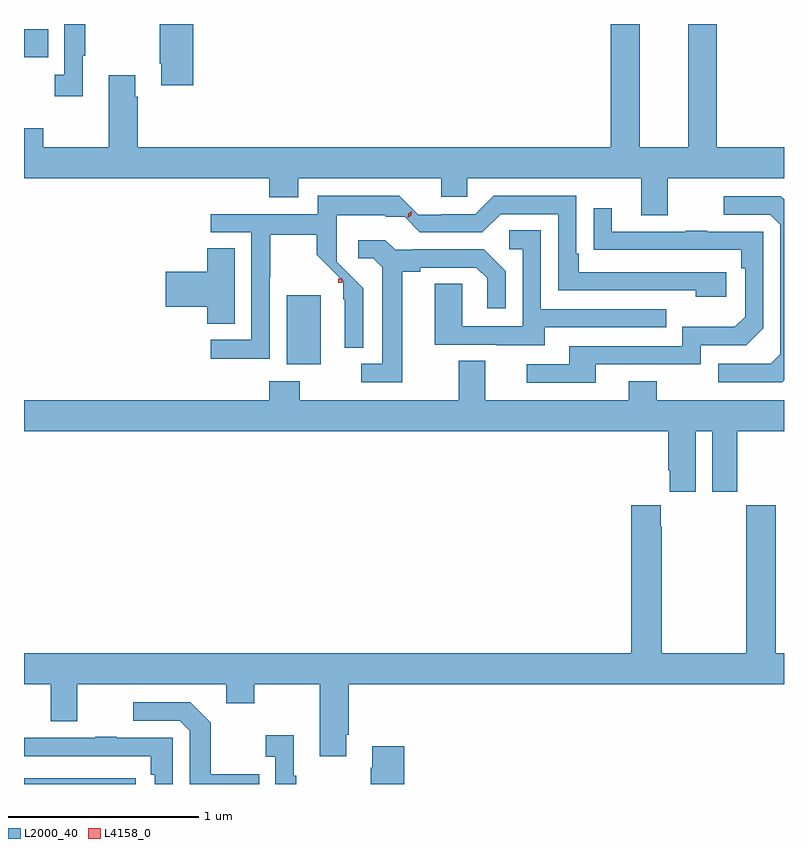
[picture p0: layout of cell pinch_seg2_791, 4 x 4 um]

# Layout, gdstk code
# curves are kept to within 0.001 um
import gdstk
lib = gdstk.Library(unit=1e-6, precision=1e-09)
def R(c, l, rs):  # rectangles x0, y0, x1, y1
    for r in rs: c.add(gdstk.rectangle(r[:2], r[2:], *l))
def P(c, l, *ps):  # polygons
    for p in ps: c.add(gdstk.Polygon(p, *l))
L2000_40 = (2000, 40)
L4158_0 = (4158, 0)

pinch_seg2_791 = lib.new_cell('pinch_seg2_791')
R(pinch_seg2_791, L2000_40, [(673.209,593.832,673.798,593.862), (674.591,596.042,674.77,596.404), (673.209,597.658,673.337,597.805)])
P(pinch_seg2_791, L2000_40, [(676.597,597.02),(677.209,597.02),(677.209,597.184),(676.854,597.184),(676.854,597.832),(676.706,597.832),(676.706,597.184),(676.45,597.184),(676.45,597.832),(676.298,597.832),(676.298,597.184),(673.808,597.184),(673.808,597.449),(673.795,597.449),(673.795,597.562),(673.655,597.562),(673.655,597.184),(673.311,597.184),(673.311,597.283),(673.209,597.283),(673.209,597.02),(674.501,597.02),(674.501,596.921),(674.653,596.921),(674.653,597.02),(675.404,597.02),(675.404,596.922),(675.543,596.922),(675.543,597.02),(676.457,597.02),(676.457,596.826),(676.597,596.826)],
  [(673.519,597.665),(673.531,597.665),(673.531,597.832),(673.422,597.832),(673.422,597.566),(673.371,597.566),(673.371,597.453),(673.519,597.453)],
  [(674.099,597.832),(673.924,597.832),(673.924,597.622),(673.931,597.622),(673.931,597.51),(674.099,597.51)],
  [(674.502,596.5),(674.505,596.5),(674.505,596.724),(674.749,596.724),(674.749,596.617),(674.889,596.477),(674.889,596.383),(674.898,596.383),(674.898,596.128),(674.994,596.128),(674.994,596.442),(674.856,596.581),(674.856,596.825),(675.113,596.825),(675.113,596.817),(675.212,596.817),(675.293,596.736),(675.621,596.736),(675.717,596.832),(676.02,596.832),(676.02,596.43),(676.745,596.43),(676.745,596.396),(676.906,596.396),(676.906,596.526),(676.129,596.526),(676.129,596.623),(676.116,596.623),(676.116,596.928),(675.681,596.928),(675.585,596.832),(675.408,596.832),(675.408,596.829),(675.284,596.829),(675.184,596.929),(674.754,596.929),(674.754,596.832),(674.193,596.832),(674.193,596.736),(674.406,596.736),(674.406,596.169),(674.193,596.169),(674.193,596.071),(674.502,596.071)],
  [(677.209,595.957),(677.209,596.909),(677.193,596.925),(676.893,596.925),(676.893,596.829),(677.136,596.829),(677.19,596.775),(677.19,596.094),(677.139,596.043),(676.863,596.043),(676.863,595.947),(677.199,595.947)],
  [(676.219,596.04),(676.77,596.04),(676.77,596.142),(677.01,596.142),(677.1,596.232),(677.1,596.739),(676.805,596.739),(676.805,596.744),(676.693,596.744),(676.693,596.739),(676.303,596.739),(676.303,596.863),(676.207,596.863),(676.207,596.644),(676.984,596.643),(676.984,596.546),(677.004,596.546),(677.004,596.292),(676.951,596.239),(676.674,596.239),(676.674,596.136),(676.079,596.136),(676.079,596.04),(675.855,596.04),(675.855,595.944),(676.219,595.944)],
  [(675.949,596.235),(676.589,596.235),(676.589,596.331),(675.93,596.331),(675.93,596.747),(675.762,596.747),(675.762,596.646),(675.834,596.646),(675.834,596.241),(675.516,596.241),(675.516,596.465),(675.371,596.465),(675.371,596.145),(675.695,596.145),(675.695,596.141),(675.949,596.141)],
  [(675.199,596.528),(675.295,596.528),(675.295,596.55),(675.59,596.55),(675.647,596.493),(675.647,596.337),(675.744,596.337),(675.744,596.53),(675.628,596.646),(675.256,596.646),(675.256,596.643),(675.162,596.643),(675.11,596.695),(674.967,596.695),(674.967,596.598),(675.048,596.598),(675.095,596.551),(675.095,596.043),(674.985,596.043),(674.985,595.947),(675.199,595.947)],
  [(674.317,596.651),(674.174,596.651),(674.174,596.528),(673.956,596.528),(673.956,596.345),(674.174,596.345),(674.174,596.254),(674.317,596.254)],
  [(676.744,595.688),(676.832,595.688),(676.832,595.371),(676.963,595.371),(676.963,595.688),(677.209,595.688),(677.209,595.852),(676.539,595.852),(676.539,595.951),(676.391,595.951),(676.391,595.852),(675.637,595.852),(675.637,596.06),(675.497,596.06),(675.497,595.852),(674.661,595.852),(674.661,595.951),(674.501,595.951),(674.501,595.852),(673.209,595.852),(673.209,595.688),(676.601,595.688),(676.601,595.483),(676.607,595.483),(676.607,595.371),(676.744,595.371)],
  [(674.905,594.091),(674.918,594.091),(674.918,594.356),(677.209,594.356),(677.209,594.52),(677.166,594.52),(677.166,595.3),(677.011,595.3),(677.011,594.52),(676.566,594.52),(676.566,595.187),(676.561,595.187),(676.561,595.3),(676.406,595.3),(676.406,594.52),(673.209,594.52),(673.209,594.356),(673.349,594.356),(673.349,594.162),(673.489,594.162),(673.489,594.356),(674.273,594.356),(674.273,594.257),(674.421,594.257),(674.421,594.356),(674.765,594.356),(674.765,593.979),(674.905,593.979)],
  [(674.447,593.883),(674.191,593.883),(674.191,594.155),(674.085,594.261),(673.785,594.261),(673.785,594.165),(674.028,594.165),(674.082,594.111),(674.082,593.832),(674.447,593.832)],
  [(674.641,593.875),(674.629,593.875),(674.629,594.088),(674.481,594.088),(674.481,593.975),(674.532,593.975),(674.532,593.832),(674.641,593.832)],
  [(673.992,594.075),(673.697,594.075),(673.697,594.08),(673.585,594.08),(673.585,594.075),(673.209,594.075),(673.209,593.979),(673.876,593.979),(673.876,593.882),(673.896,593.882),(673.896,593.832),(673.992,593.832)],
  [(675.209,594.031),(675.041,594.031),(675.041,593.918),(675.034,593.918),(675.034,593.832),(675.209,593.832)])
R(pinch_seg2_791, L4158_0, [(674.864,596.471,674.884,596.491)])
P(pinch_seg2_791, L4158_0, [(675.229,596.812),(675.229,596.812),(675.231,596.834),(675.25,596.846),(675.251,596.846),(675.251,596.846),(675.248,596.823),(675.229,596.812)])

lib.write_gds('pinch_seg2_791.gds')
